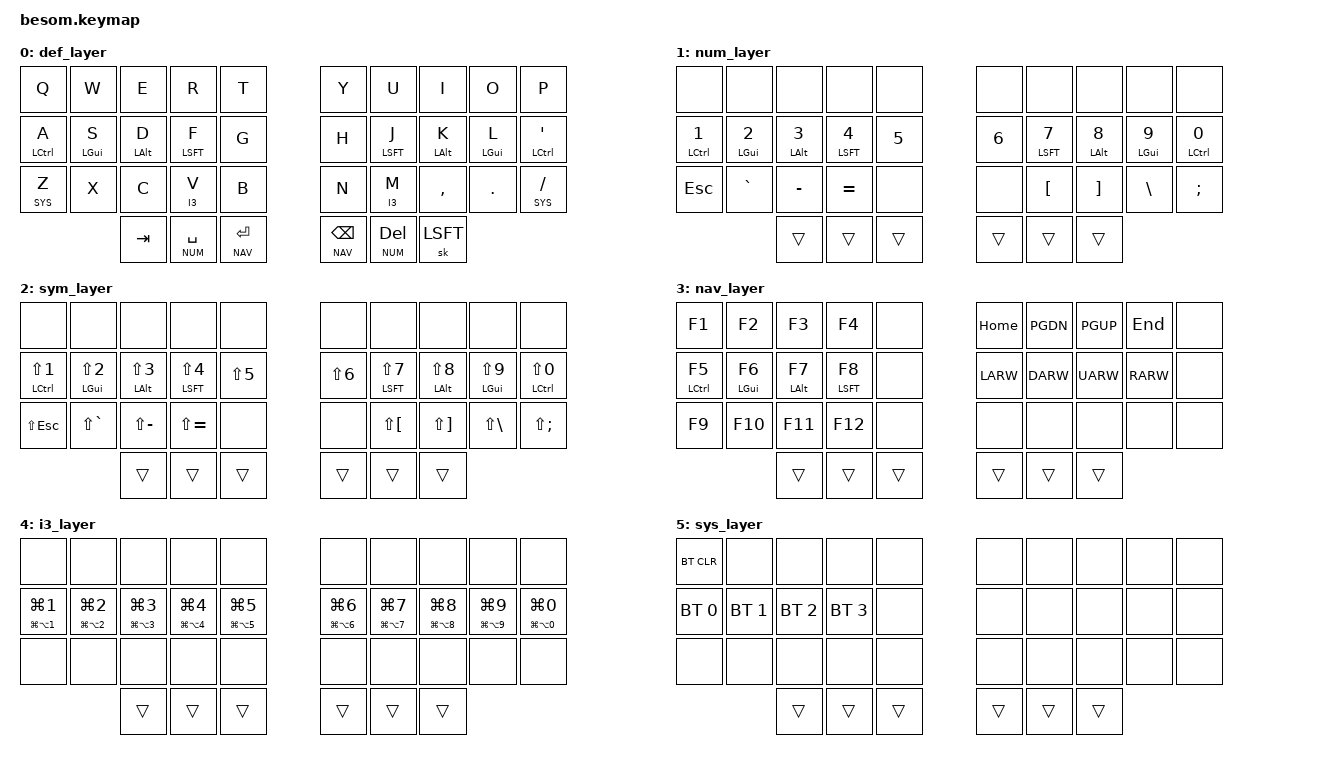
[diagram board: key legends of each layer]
#include <behaviors.dtsi>
#include <dt-bindings/zmk/keys.h>
#include <dt-bindings/zmk/bt.h>

#define DEF 0
#define NUM 1
#define SYM 2
#define NAV 3
#define I3  4
#define SYS 5

&mt {
    flavor = "tap-preferred";
    tapping-term-ms = <150 >;
    quick-tap-ms = <150>;
};

&lt {
    flavor = "tap-preferred";
    tapping-term-ms = <150>;
    quick-tap-ms = <250>;
};

&sk {
    quick-release;
};

#define COMBO(NAME, KEYPOS) \
    combo_##NAME { \
        timeout-ms = <100>; \
        key-positions = <KEYPOS>; \
        bindings = <&kp NAME>; \
    };

/ {
    behaviors {
        i3: behavior_ithree {
			compatible = "zmk,behavior-hold-tap";
			label = "I_THREE";
			flavor = "tap-preferred";
			tapping-term-ms = <500>;
            #binding-cells = <2>;
			bindings = <&kp>, <&kp>;
		};
    };

    combos {
        compatible = "zmk,combos";
        COMBO(NUM_1, 0 10)
        COMBO(NUM_2, 1 11)
        COMBO(NUM_3, 2 12)
        COMBO(NUM_4, 3 13)
        COMBO(NUM_5, 4 14)
        COMBO(NUM_6, 5 15)
        COMBO(NUM_7, 6 16)
        COMBO(NUM_8, 7 17)
        COMBO(NUM_9, 8 18)
        COMBO(NUM_0, 9 19)

        COMBO(ESC, 10 20)
        COMBO(GRAVE, 11 21)
        COMBO(MINUS, 12 22)
        COMBO(EQUAL, 13 23)
        COMBO(LEFT_BRACKET, 16 26)
        COMBO(RIGHT_BRACKET, 17 27)
        COMBO(BACKSLASH, 18 28)
        COMBO(SCLN, 19 29)
    };

    keymap {
        compatible = "zmk,keymap";

        def_layer {
            bindings = <
    &kp Q       &kp W      &kp E      &kp R      &kp T &kp Y     &kp U      &kp I      &kp O      &kp P   
    &mt LCTL A  &mt LGUI S &mt LALT D &mt LSFT F &kp G &kp H     &mt LSFT J &mt LALT K &mt LGUI L &mt LCTL QUOT
    &lt SYS Z   &kp X      &kp C      &lt I3 V   &kp B &kp N     &lt I3 M   &kp CMMA   &kp DOT    &lt SYS SLASH
                           &kp TAB &lt NUM SPC &lt NAV RET &lt NAV BKSP &lt NUM DEL  &sk LSFT
            >;
        };

        num_layer {
            bindings = <
    &none &none &none &none &none &none &none &none &none &none 
    &mt LCTL NUM_1  &mt LGUI NUM_2 &mt LALT NUM_3 &mt LSFT NUM_4 &kp NUM_5 &kp NUM_6 &mt LSFT NUM_7  &mt LALT NUM_8 &mt LGUI NUM_9 &mt LCTL NUM_0
    &kp ESC &kp GRAVE &kp MINUS &kp EQUAL &none &none &kp LEFT_BRACKET &kp RIGHT_BRACKET &kp BACKSLASH &kp SEMICOLON 
                &trans &trans &trans &trans &trans &trans
            >;
        };

        sym_layer {
            bindings = <
    &none &none &none &none &none &none &none &none &none &none 
    &mt LCTL LS(NUM_1)  &mt LGUI LS(NUM_2) &mt LALT LS(NUM_3) &mt LSFT LS(NUM_4) &kp LS(NUM_5) &kp LS(NUM_6) &mt LSFT LS(NUM_7)  &mt LALT LS(NUM_8) &mt LGUI LS(NUM_9) &mt LCTL LS(NUM_0)
    &kp LS(ESC) &kp LS(GRAVE) &kp LS(MINUS) &kp LS(EQUAL) &none &none &kp LS(LEFT_BRACKET) &kp LS(RIGHT_BRACKET) &kp LS(BACKSLASH) &kp LS(SEMICOLON) 
                &trans &trans &trans &trans &trans &trans
            >;
        };

        nav_layer {
            bindings = <
    &kp F1 &kp F2 &kp F3 &kp F4 &none &kp HOME &kp PGDN &kp PGUP &kp END &none
    &mt LCTL F5 &mt LGUI F6 &mt LALT F7 &mt LSFT F8 &none &kp LARW &kp DARW &kp UARW &kp RARW &none
    &kp F9 &kp F10 &kp F11 &kp F12 &none &none &none &none &none &none
                &trans &trans &trans &trans &trans &trans
            >;
        };

        i3_layer {
            bindings = <
    &none &none &none &none &none &none &none &none &none &none 
    &i3 LG(LA(NUM_1)) LG(NUM_1) &i3 LG(LA(NUM_2)) LG(NUM_2) &i3 LG(LA(NUM_3)) LG(NUM_3) &i3 LG(LA(NUM_4)) LG(NUM_4) &i3 LG(LA(NUM_5)) LG(NUM_5) &i3 LG(LA(NUM_6)) LG(NUM_6) &i3 LG(LA(NUM_7)) LG(NUM_7) &i3 LG(LA(NUM_8)) LG(NUM_8) &i3 LG(LA(NUM_9)) LG(NUM_9) &i3 LG(LA(NUM_0)) LG(NUM_0) 
    &none &none &none &none &none &none &none &none &none &none
                &trans &trans &trans &trans &trans &trans
            >;
        };

        sys_layer {
            bindings = <
    &bt BT_CLR &none &none &none &none &none &none &none &none &none 
    &bt BT_SEL 0 &bt BT_SEL 1 &bt BT_SEL 2 &bt BT_SEL 3 &none &none &none &none &none &none 
    &none &none &none &none &none &none &none &none &none &none 
                &trans &trans &trans &trans &trans &trans
            >;
        };
    };

};
